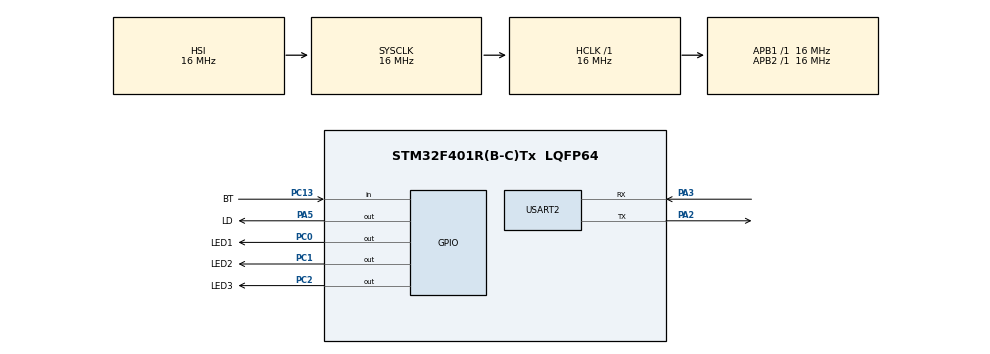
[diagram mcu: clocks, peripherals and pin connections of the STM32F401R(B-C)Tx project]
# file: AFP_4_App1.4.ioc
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Mcu.Family=STM32F4
Mcu.Name=STM32F401R(B-C)Tx
Mcu.Package=LQFP64
NVIC.PriorityGroup=NVIC_PRIORITYGROUP_4
PA13.Mode=Trace_Asynchronous_SW
PA13.Signal=SYS_JTMS-SWDIO
PA14.Mode=Trace_Asynchronous_SW
PA14.Signal=SYS_JTCK-SWCLK
PA2.Mode=Asynchronous
PA2.Signal=USART2_TX
PA3.Mode=Asynchronous
PA3.Signal=USART2_RX
PA5.GPIO_Label=LD
PA5.Signal=GPIO_Output
PB3.Mode=Trace_Asynchronous_SW
PB3.Signal=SYS_JTDO-SWO
PC0.GPIO_Label=LED1
PC0.Signal=GPIO_Output
PC1.GPIO_Label=LED2
PC1.Signal=GPIO_Output
PC13-ANTI_TAMP.GPIO_Label=BT
PC13-ANTI_TAMP.Signal=GPIO_Input
PC14-OSC32_IN.Mode=LSE-External-Oscillator
PC14-OSC32_IN.Signal=RCC_OSC32_IN
PC15-OSC32_OUT.Mode=LSE-External-Oscillator
PC15-OSC32_OUT.Signal=RCC_OSC32_OUT
PC2.GPIO_Label=LED3
PC2.Signal=GPIO_Output
PH0\ -\ OSC_IN.Mode=HSE-External-Clock-Source
PH0\ -\ OSC_IN.Signal=RCC_OSC_IN
PH1\ -\ OSC_OUT.Mode=HSE-External-Clock-Source
PH1\ -\ OSC_OUT.Signal=RCC_OSC_OUT
ProjectManager.HeapSize=0x200
ProjectManager.StackSize=0x400
ProjectManager.TargetToolchain=STM32CubeIDE
RCC.AHBFreq_Value=16000000
RCC.APB1Freq_Value=16000000
RCC.APB2Freq_Value=16000000
RCC.CortexFreq_Value=16000000
RCC.HSE_VALUE=25000000
RCC.HSI_VALUE=16000000
RCC.SYSCLKFreq_VALUE=16000000
RCC.VCOOutputFreq_Value=192000000
USART2.VirtualMode=VM_ASYNC
board=custom

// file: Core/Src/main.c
/* USER CODE BEGIN Header */
/**
  ******************************************************************************
  * @file           : main.c
  * @brief          : Main program body
  ******************************************************************************
  * @attention
  *
  * Copyright (c) 2026 STMicroelectronics.
  * All rights reserved.
  *
  * This software is licensed under terms that can be found in the LICENSE file
  * in the root directory of this software component.
  * If no LICENSE file comes with this software, it is provided AS-IS.
  *
  ******************************************************************************
  */
/* USER CODE END Header */
#include "main.h"

/* USER CODE BEGIN Includes */
#include "API_GPIO.h"
#include "API_Delay.h"
/* USER CODE END Includes */

/* USER CODE BEGIN PD */
#define LED1 LED1_Pin
#define LED2 LED2_Pin
#define LED3 LED3_Pin
/* USER CODE END PD */

UART_HandleTypeDef huart2;

void SystemClock_Config(void);
static void MX_USART2_UART_Init(void);

int main(void)
{

  /* USER CODE BEGIN 1 */
led_t LEDS[]={LED1, LED2,LED3};
delay_t delayLED;
tick_t duration[]={100,250,500,1000};
uint16_t i=0,EAc,EAn;
delayInit(&delayLED,100);
  /* USER CODE END 1 */

  /* MCU Configuration--------------------------------------------------------*/

  /* Reset of all peripherals, Initializes the Flash interface and the Systick. */
  HAL_Init();

  /* Configure the system clock */
  SystemClock_Config();

  /* Initialize all configured peripherals */
  MX_GPIO_Init();
  MX_USART2_UART_Init();

  /* Infinite loop */
  while (1)
  {

    /* USER CODE BEGIN 3 */
	if(delayRead(&delayLED))
	{
		toggleLed_GPIO(LED1|LED2|LED3);
	}
	EAc=readButton_GPIO();
		  if (EAc==0&&EAn==1)
			 {
			  	  EAn=EAc;
				  if(i<3)
					  i++;
				  else
					  i=0;
				  delayWrite(&delayLED,duration[i]);

			  }
			  else
				  EAn=readButton_GPIO();
	  }
  /* USER CODE END 3 */
}

void SystemClock_Config(void)
{
  RCC_OscInitTypeDef RCC_OscInitStruct = {0};
  RCC_ClkInitTypeDef RCC_ClkInitStruct = {0};

  /** Configure the main internal regulator output voltage
  */
  __HAL_RCC_PWR_CLK_ENABLE();
  __HAL_PWR_VOLTAGESCALING_CONFIG(PWR_REGULATOR_VOLTAGE_SCALE2);

  /** Initializes the RCC Oscillators according to the specified parameters
  * in the RCC_OscInitTypeDef structure.
  */
  RCC_OscInitStruct.OscillatorType = RCC_OSCILLATORTYPE_HSI;
  RCC_OscInitStruct.HSIState = RCC_HSI_ON;
  RCC_OscInitStruct.HSICalibrationValue = RCC_HSICALIBRATION_DEFAULT;
  RCC_OscInitStruct.PLL.PLLState = RCC_PLL_NONE;
  if (HAL_RCC_OscConfig(&RCC_OscInitStruct) != HAL_OK)
  {
    Error_Handler();
  }

  /** Initializes the CPU, AHB and APB buses clocks
  */
  RCC_ClkInitStruct.ClockType = RCC_CLOCKTYPE_HCLK|RCC_CLOCKTYPE_SYSCLK
                              |RCC_CLOCKTYPE_PCLK1|RCC_CLOCKTYPE_PCLK2;
  RCC_ClkInitStruct.SYSCLKSource = RCC_SYSCLKSOURCE_HSI;
  RCC_ClkInitStruct.AHBCLKDivider = RCC_SYSCLK_DIV1;
  RCC_ClkInitStruct.APB1CLKDivider = RCC_HCLK_DIV1;
  RCC_ClkInitStruct.APB2CLKDivider = RCC_HCLK_DIV1;

  if (HAL_RCC_ClockConfig(&RCC_ClkInitStruct, FLASH_LATENCY_0) != HAL_OK)
  {
    Error_Handler();
  }
}

static void MX_USART2_UART_Init(void)
{

  huart2.Instance = USART2;
  huart2.Init.BaudRate = 115200;
  huart2.Init.WordLength = UART_WORDLENGTH_8B;
  huart2.Init.StopBits = UART_STOPBITS_1;
  huart2.Init.Parity = UART_PARITY_NONE;
  huart2.Init.Mode = UART_MODE_TX_RX;
  huart2.Init.HwFlowCtl = UART_HWCONTROL_NONE;
  huart2.Init.OverSampling = UART_OVERSAMPLING_16;
  if (HAL_UART_Init(&huart2) != HAL_OK)
  {
    Error_Handler();
  }

}

void Error_Handler(void)
{
  __disable_irq();
  while (1)
  {
  }
}
